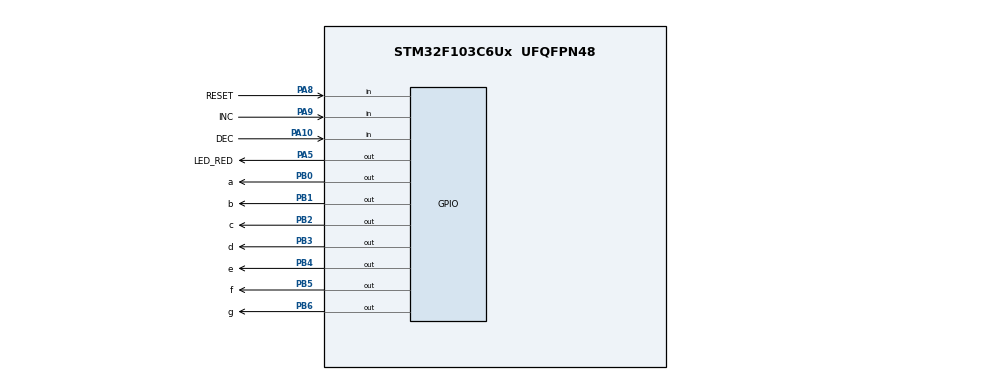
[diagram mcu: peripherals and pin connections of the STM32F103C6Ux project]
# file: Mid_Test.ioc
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Mcu.Family=STM32F1
Mcu.Name=STM32F103C6Ux
Mcu.Package=UFQFPN48
NVIC.PriorityGroup=NVIC_PRIORITYGROUP_4
NVIC.TIM2_IRQn=true\:0\:0\:false\:false\:true\:true\:true
PA10.GPIO_Label=DEC
PA10.GPIO_PuPd=GPIO_PULLUP
PA10.Signal=GPIO_Input
PA5.GPIO_Label=LED_RED
PA5.Signal=GPIO_Output
PA8.GPIO_Label=RESET
PA8.GPIO_PuPd=GPIO_PULLUP
PA8.Signal=GPIO_Input
PA9.GPIO_Label=INC
PA9.GPIO_PuPd=GPIO_PULLUP
PA9.Signal=GPIO_Input
PB0.GPIO_Label=a
PB0.Signal=GPIO_Output
PB1.GPIO_Label=b
PB1.Signal=GPIO_Output
PB2.GPIO_Label=c
PB2.Signal=GPIO_Output
PB3.GPIO_Label=d
PB3.Signal=GPIO_Output
PB4.GPIO_Label=e
PB4.Signal=GPIO_Output
PB5.GPIO_Label=f
PB5.Signal=GPIO_Output
PB6.GPIO_Label=g
PB6.Signal=GPIO_Output
ProjectManager.HeapSize=0x200
ProjectManager.StackSize=0x400
ProjectManager.TargetToolchain=STM32CubeIDE
RCC.APB1Freq_Value=8000000
RCC.APB2Freq_Value=8000000
TIM2.Period=9
TIM2.Prescaler=7999
VP_SYS_VS_ND.Mode=No_Debug
VP_TIM2_VS_ClockSourceINT.Mode=Internal
board=custom

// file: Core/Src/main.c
/* USER CODE BEGIN Header */
/**
  ******************************************************************************
  * @file           : main.c
  * @brief          : Main program body
  ******************************************************************************
  * @attention
  *
  * <h2><center>&copy; Copyright (c) 2022 STMicroelectronics.
  * All rights reserved.</center></h2>
  *
  * This software component is licensed by ST under BSD 3-Clause license,
  * the "License"; You may not use this file except in compliance with the
  * License. You may obtain a copy of the License at:
  *                        opensource.org/licenses/BSD-3-Clause
  *
  ******************************************************************************
  */
/* USER CODE END Header */
#include "main.h"

/* USER CODE BEGIN Includes */
#include "software_timer.h"
#include "button.h"
#include "global.h"
#include "fsm.h"
#include "fsm_manual.h"
/* USER CODE END Includes */

TIM_HandleTypeDef htim2;

void SystemClock_Config(void);
static void MX_GPIO_Init(void);
static void MX_TIM2_Init(void);

int main(void)
{

  /* MCU Configuration--------------------------------------------------------*/

  /* Reset of all peripherals, Initializes the Flash interface and the Systick. */
  HAL_Init();

  /* Configure the system clock */
  SystemClock_Config();

  /* Initialize all configured peripherals */
  MX_GPIO_Init();
  MX_TIM2_Init();
  /* USER CODE BEGIN 2 */
  HAL_TIM_Base_Start_IT(&htim2);
  /* USER CODE END 2 */

  /* Infinite loop */
  /* USER CODE BEGIN WHILE */
  setTimer1(1000);
  status = INIT;
  while (1)
  {
    /* USER CODE END WHILE */

    /* USER CODE BEGIN 3 */
	  fsm_auto_run();
	  fsm_simple_button_run();
  }
  /* USER CODE END 3 */
}

void SystemClock_Config(void)
{
  RCC_OscInitTypeDef RCC_OscInitStruct = {0};
  RCC_ClkInitTypeDef RCC_ClkInitStruct = {0};

  /** Initializes the RCC Oscillators according to the specified parameters
  * in the RCC_OscInitTypeDef structure.
  */
  RCC_OscInitStruct.OscillatorType = RCC_OSCILLATORTYPE_HSI;
  RCC_OscInitStruct.HSIState = RCC_HSI_ON;
  RCC_OscInitStruct.HSICalibrationValue = RCC_HSICALIBRATION_DEFAULT;
  RCC_OscInitStruct.PLL.PLLState = RCC_PLL_NONE;
  if (HAL_RCC_OscConfig(&RCC_OscInitStruct) != HAL_OK)
  {
    Error_Handler();
  }
  /** Initializes the CPU, AHB and APB buses clocks
  */
  RCC_ClkInitStruct.ClockType = RCC_CLOCKTYPE_HCLK|RCC_CLOCKTYPE_SYSCLK
                              |RCC_CLOCKTYPE_PCLK1|RCC_CLOCKTYPE_PCLK2;
  RCC_ClkInitStruct.SYSCLKSource = RCC_SYSCLKSOURCE_HSI;
  RCC_ClkInitStruct.AHBCLKDivider = RCC_SYSCLK_DIV1;
  RCC_ClkInitStruct.APB1CLKDivider = RCC_HCLK_DIV1;
  RCC_ClkInitStruct.APB2CLKDivider = RCC_HCLK_DIV1;

  if (HAL_RCC_ClockConfig(&RCC_ClkInitStruct, FLASH_LATENCY_0) != HAL_OK)
  {
    Error_Handler();
  }
}

static void MX_TIM2_Init(void)
{

  TIM_ClockConfigTypeDef sClockSourceConfig = {0};
  TIM_MasterConfigTypeDef sMasterConfig = {0};

  htim2.Instance = TIM2;
  htim2.Init.Prescaler = 7999;
  htim2.Init.CounterMode = TIM_COUNTERMODE_UP;
  htim2.Init.Period = 9;
  htim2.Init.ClockDivision = TIM_CLOCKDIVISION_DIV1;
  htim2.Init.AutoReloadPreload = TIM_AUTORELOAD_PRELOAD_DISABLE;
  if (HAL_TIM_Base_Init(&htim2) != HAL_OK)
  {
    Error_Handler();
  }
  sClockSourceConfig.ClockSource = TIM_CLOCKSOURCE_INTERNAL;
  if (HAL_TIM_ConfigClockSource(&htim2, &sClockSourceConfig) != HAL_OK)
  {
    Error_Handler();
  }
  sMasterConfig.MasterOutputTrigger = TIM_TRGO_RESET;
  sMasterConfig.MasterSlaveMode = TIM_MASTERSLAVEMODE_DISABLE;
  if (HAL_TIMEx_MasterConfigSynchronization(&htim2, &sMasterConfig) != HAL_OK)
  {
    Error_Handler();
  }

}

static void MX_GPIO_Init(void)
{
  GPIO_InitTypeDef GPIO_InitStruct = {0};

  /* GPIO Ports Clock Enable */
  __HAL_RCC_GPIOA_CLK_ENABLE();
  __HAL_RCC_GPIOB_CLK_ENABLE();

  /*Configure GPIO pin Output Level */
  HAL_GPIO_WritePin(LED_RED_GPIO_Port, LED_RED_Pin, GPIO_PIN_RESET);

  /*Configure GPIO pin Output Level */
  HAL_GPIO_WritePin(GPIOB, a_Pin|b_Pin|c_Pin|d_Pin
                          |e_Pin|f_Pin|g_Pin, GPIO_PIN_RESET);

  /*Configure GPIO pin : LED_RED_Pin */
  GPIO_InitStruct.Pin = LED_RED_Pin;
  GPIO_InitStruct.Mode = GPIO_MODE_OUTPUT_PP;
  GPIO_InitStruct.Pull = GPIO_NOPULL;
  GPIO_InitStruct.Speed = GPIO_SPEED_FREQ_LOW;
  HAL_GPIO_Init(LED_RED_GPIO_Port, &GPIO_InitStruct);

  /*Configure GPIO pins : a_Pin b_Pin c_Pin d_Pin
                           e_Pin f_Pin g_Pin */
  GPIO_InitStruct.Pin = a_Pin|b_Pin|c_Pin|d_Pin
                          |e_Pin|f_Pin|g_Pin;
  GPIO_InitStruct.Mode = GPIO_MODE_OUTPUT_PP;
  GPIO_InitStruct.Pull = GPIO_NOPULL;
  GPIO_InitStruct.Speed = GPIO_SPEED_FREQ_LOW;
  HAL_GPIO_Init(GPIOB, &GPIO_InitStruct);

  /*Configure GPIO pins : RESET_Pin INC_Pin DEC_Pin */
  GPIO_InitStruct.Pin = RESET_Pin|INC_Pin|DEC_Pin;
  GPIO_InitStruct.Mode = GPIO_MODE_INPUT;
  GPIO_InitStruct.Pull = GPIO_PULLUP;
  HAL_GPIO_Init(GPIOA, &GPIO_InitStruct);

}

/* USER CODE BEGIN 4 */
void HAL_TIM_PeriodElapsedCallback(TIM_HandleTypeDef *htim){
	timerRun();
	getKeyInput1();
	getKeyInput2();
	getKeyInput3();
}
/* USER CODE END 4 */

void Error_Handler(void)
{
  __disable_irq();
  while (1)
  {
  }
}

/************************ (C) COPYRIGHT STMicroelectronics *****END OF FILE****/
